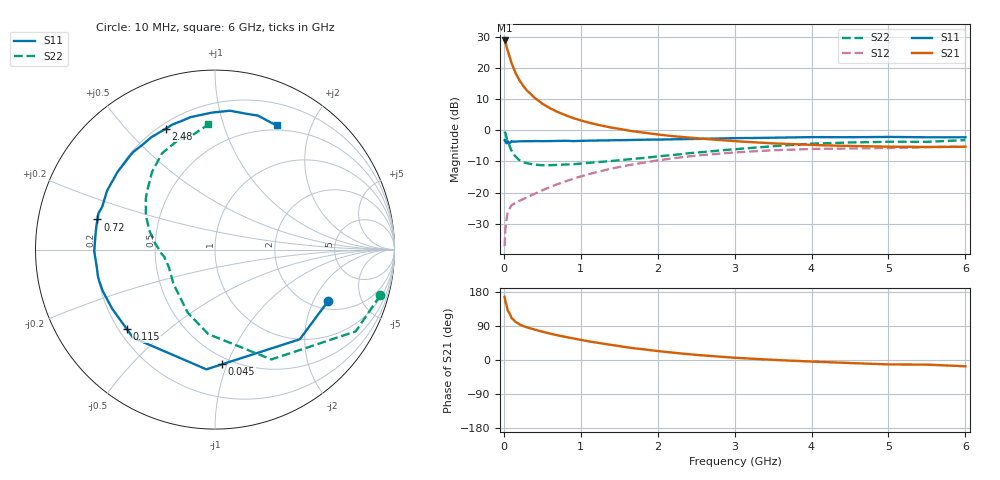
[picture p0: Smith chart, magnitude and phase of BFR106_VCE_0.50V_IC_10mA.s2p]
! Infineon Technologies  Discrete & RF Semiconductors
! BFR106
! VCE = 0.50 V,  IC =  10 mA
! Common Emitter S-Parameters:  Nov 2015
# GHz  S  MA  R  50
!  f  S11  S21  S12  S22
! GHz  MAG  ANG  MAG  ANG  MAG  ANG  MAG  ANG
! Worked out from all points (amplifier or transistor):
!   210 points, 10 MHz to 6 GHz, reference 50 ohm
!   highest |S21| = 28.9 dB at 10 MHz (marker M1)
!   |S21| within 3 dB of that: start of sweep to 46.65 MHz
!   unconditionally stable (mu >= 1): 437.4 MHz to end of sweep
!   at 185 MHz: K = 0.60, MSG = 19.9 dB, |S12| = -22.9 dB
!   at 1.52 GHz: K = 1.13, MAG = 3.9 dB, |S12| = -11.7 dB
!   at 6 GHz: K = 1.03, MAG = -1.1 dB, |S12| = -5.2 dB
!   S11 on the Smith chart (normalised r, x): 10 MHz: 2.39, -2.63; 45 MHz: 0.44, -0.96; 115 MHz: 0.23, -0.37; 720 MHz: 0.20, +0.12; 2.48 GHz: 0.23, +0.65; 6 GHz: 0.44, +1.53
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0.01  0.693 -24.3  27.77 166.7  0.0138 79.8  0.9551 -15.5
0.02  0.6876 -46.6  26.12 155.5  0.0257 69.4  0.9068 -30.2
0.045  0.6404 -86.5  19.95 135.8  0.0446 51.2  0.7052 -56.2
0.05  0.6689 -94.1  19.1 130.5  0.0487 49.3  0.6878 -62.8
0.1  0.6705 -132.9  11.97 110.7  0.0626 38.0  0.4725 -94.5
0.115  0.6613 -138.0  10.86 108.4  0.0643 37.3  0.4408 -99.4
0.15  0.661 -150.2  8.372 100.5  0.0684 35.7  0.3824 -113.5
0.2  0.6667 -159.7  6.446 94.4  0.0736 36.8  0.3332 -125.1
0.24  0.6687 -165.2  5.435 90.7  0.0775 38.5  0.3126 -133.1
0.3  0.6656 -171.3  4.36 86.0  0.0839 41.2  0.2974 -141.5
0.4  0.6731 -179.1  3.322 80.0  0.096 44.9  0.2818 -151.1
0.5  0.6706 175.8  2.683 74.7  0.1086 47.7  0.2757 -157.6
0.6  0.6726 170.7  2.265 69.6  0.1227 49.7  0.2755 -161.9
0.72  0.6767 165.6  1.924 64.2  0.1398 51.3  0.2803 -166.2
1.02  0.679 154.1  1.42 52.4  0.1849 52.0  0.2937 -174.2
1.4  0.6941 141.8  1.104 39.8  0.2429 49.2  0.3223 177.2
2.02  0.7107 124.2  0.854 23.2  0.3321 41.2  0.3841 163.0
2.48  0.728 112.1  0.754 13.9  0.39 33.9  0.4368 151.9
3.1  0.7513 98.8  0.659 4.8  0.449 23.7  0.5075 137.4
4.1  0.7771 82.6  0.578 -4.9  0.5037 8.7  0.6164 116.9
5.1  0.7817 71.2  0.545 -11.7  0.5225 -2.8  0.6559 101.4
6  0.7738 63.4  0.545 -16.6  0.5503 -11.1  0.6983 93.0
